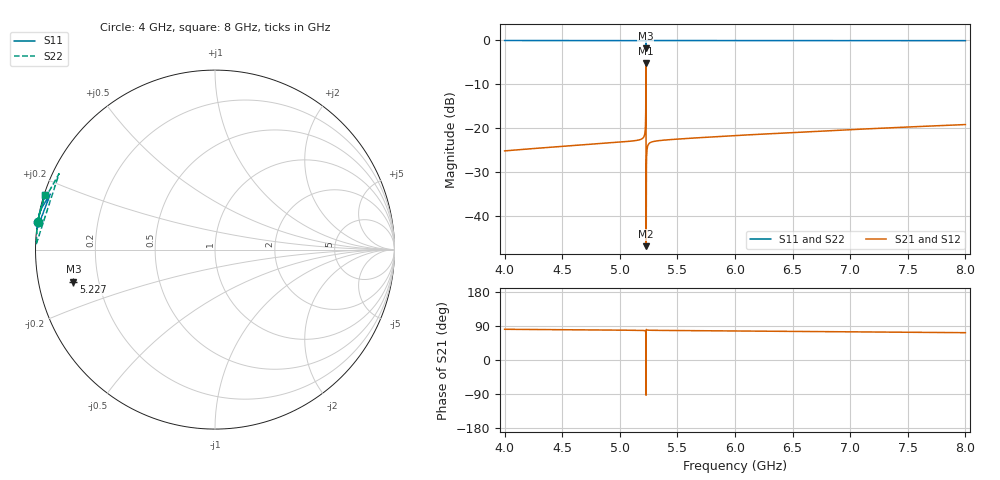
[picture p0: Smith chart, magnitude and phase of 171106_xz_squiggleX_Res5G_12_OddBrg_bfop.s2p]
! Sonnet Data File
! From: emgraph Version : 16.52
! From Emgraph Data: 171106_xz_squiggleX_Res5G_12_OddBrg
! Data File Written: 11/08/2017 10:11:53
!< HDATE 11/06/2017 22:05:53
!< MDATE 11/06/2017 22:05:53
!< PARAMS
!< dCr = 12.0
!< Squiggle_length = 16.0
!< END PARAMS
# GHZ S MA R 50.00000
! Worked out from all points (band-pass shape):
!   4001 points, 4 GHz to 8 GHz, reference 50 ohm
!   highest |S21| = -5.19 dB at 5.227 GHz (marker M1); lowest = -47.0 dB at 5.229 GHz (marker M2)
!   |S21| within 3 dB of the highest: 5.226577 GHz to 5.227146 GHz (569.8 kHz wide, 0.0109 % of centre)
!   lowest |S11| = -1.8 dB at 5.227 GHz (marker M3), VSWR 9.50, Z = 5.33 - j5.55 ohm
!   |S11| at or under -10 dB: nowhere
!   |S22| runs from -2.1 to 0.0 dB; largest |S21 - S12| = 0
!   S11 on the Smith chart (normalised r, x): 4 GHz: 0.00, +0.08; 5.227 GHz: 0.11, -0.11; 8 GHz: 0.00, +0.16
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4  0.9985 171.1  0.05475 81.1  0.05475 81.1  0.9985 171.1
!< P1 F=4.0 Eeff=(7.27452697 -3.3549e-5) Z0=(190.292719 4.38661e-4) R=0.0 C=0.0
!< P2 F=4.0 Eeff=(7.27452697 -3.3549e-5) Z0=(190.292719 4.38661e-4) R=0.0 C=0.0
4.667  0.9979 169.6  0.06402 79.6  0.06402 79.6  0.9979 169.6
5.155  0.9974 168.4  0.07248 78.4  0.07248 78.4  0.9974 168.3
5.197  0.9971 168.2  0.07591 78.1  0.07591 78.1  0.9971 168.0
5.204  0.997 168.1  0.0775 78.0  0.0775 78.0  0.997 167.8
5.206  0.9969 168.1  0.07814 77.9  0.07814 77.9  0.9969 167.8
5.207  0.9969 168.1  0.07851 77.9  0.07851 77.9  0.9969 167.8
5.208  0.9969 168.1  0.07891 77.9  0.07891 77.9  0.9969 167.7
5.209  0.9968 168.0  0.07936 77.9  0.07936 77.9  0.9968 167.7
5.212  0.9967 168.0  0.08106 77.7  0.08106 77.7  0.9967 167.6
5.227  0.8095 -167.2  0.55 -57.6  0.55 -57.6  0.7825 -135.7
5.229  0.9997 171.0  0.004465 77.6  0.004465 77.6  0.9995 173.8
5.243  0.998 168.7  0.06264 78.8  0.06264 78.8  0.998 169.0
5.247  0.9979 168.6  0.06448 78.7  0.06448 78.7  0.9979 168.9
5.248  0.9979 168.6  0.06484 78.7  0.06484 78.7  0.9979 168.8
5.252  0.9978 168.5  0.06599 78.6  0.06599 78.6  0.9978 168.7
5.263  0.9977 168.4  0.0679 78.5  0.0679 78.5  0.9977 168.6
5.334  0.9974 168.1  0.07154 78.2  0.07154 78.2  0.9974 168.2
6  0.9966 166.6  0.08185 76.6  0.08185 76.6  0.9966 166.6
6.667  0.9958 165.1  0.09109 75.1  0.09109 75.1  0.9958 165.1
7.334  0.995 163.6  0.1003 73.6  0.1003 73.6  0.995 163.6
8  0.994 162.1  0.1094 72.1  0.1094 72.1  0.994 162.1
